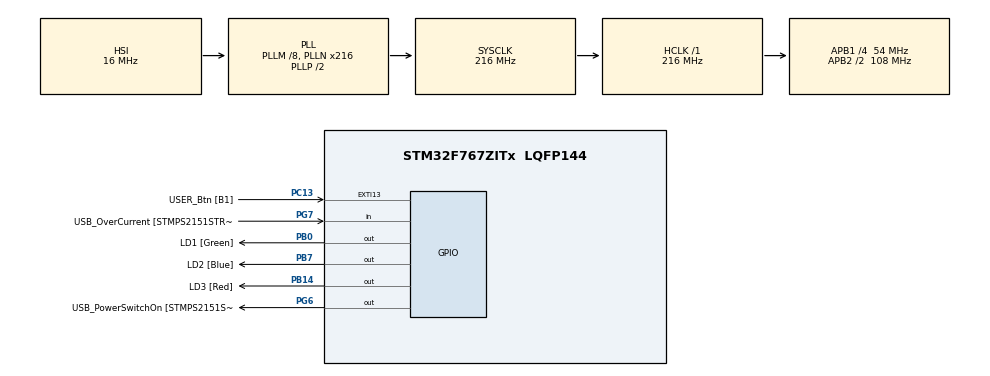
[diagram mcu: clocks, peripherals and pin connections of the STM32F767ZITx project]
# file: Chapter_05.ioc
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Mcu.Family=STM32F7
Mcu.Name=STM32F767ZITx
Mcu.Package=LQFP144
NVIC.PriorityGroup=NVIC_PRIORITYGROUP_4
PA1.GPIO_Label=RMII_REF_CLK [LAN8742A-CZ-TR_REFCLK0]
PA1.Signal=ETH_REF_CLK
PA10.GPIO_Label=USB_ID
PA10.Signal=USB_OTG_FS_ID
PA11.GPIO_Label=USB_DM
PA11.Signal=USB_OTG_FS_DM
PA12.GPIO_Label=USB_DP
PA12.Signal=USB_OTG_FS_DP
PA13.GPIO_Label=TMS
PA13.Signal=SYS_JTMS-SWDIO
PA14.GPIO_Label=TCK
PA14.Signal=SYS_JTCK-SWCLK
PA2.GPIO_Label=RMII_MDIO [LAN8742A-CZ-TR_MDIO]
PA2.Signal=ETH_MDIO
PA7.GPIO_Label=RMII_CRS_DV [LAN8742A-CZ-TR_CRS_DV]
PA7.Signal=ETH_CRS_DV
PA8.GPIO_Label=USB_SOF [TP1]
PA8.Signal=USB_OTG_FS_SOF
PA9.GPIO_Label=USB_VBUS
PA9.Signal=USB_OTG_FS_VBUS
PB0.GPIO_Label=LD1 [Green]
PB0.Signal=GPIO_Output
PB13.GPIO_Label=RMII_TXD1 [LAN8742A-CZ-TR_TXD1]
PB13.Signal=ETH_TXD1
PB14.GPIO_Label=LD3 [Red]
PB14.Signal=GPIO_Output
PB3.GPIO_Label=SW0
PB3.Signal=SYS_JTDO-SWO
PB7.GPIO_Label=LD2 [Blue]
PB7.Signal=GPIO_Output
PC1.GPIO_Label=RMII_MDC [LAN8742A-CZ-TR_MDC]
PC1.Signal=ETH_MDC
PC13.GPIO_Label=USER_Btn [B1]
PC13.Signal=GPXTI13
PC14/OSC32_IN.Signal=RCC_OSC32_IN
PC15/OSC32_OUT.Signal=RCC_OSC32_OUT
PC4.GPIO_Label=RMII_RXD0 [LAN8742A-CZ-TR_RXD0]
PC4.Signal=ETH_RXD0
PC5.GPIO_Label=RMII_RXD1 [LAN8742A-CZ-TR_RXD1]
PC5.Signal=ETH_RXD1
PD8.GPIO_Label=STLK_RX [STM32F103CBT6_PA3]
PD8.Signal=USART3_TX
PD9.GPIO_Label=STLK_TX [STM32F103CBT6_PA2]
PD9.Signal=USART3_RX
PG11.GPIO_Label=RMII_TX_EN [LAN8742A-CZ-TR_TXEN]
PG11.Signal=ETH_TX_EN
PG13.GPIO_Label=RMII_TXD0 [LAN8742A-CZ-TR_TXD0]
PG13.Signal=ETH_TXD0
PG6.GPIO_Label=USB_PowerSwitchOn [STMPS2151STR_EN]
PG6.Signal=GPIO_Output
PG7.GPIO_Label=USB_OverCurrent [STMPS2151STR_FAULT]
PG7.Signal=GPIO_Input
PH0/OSC_IN.GPIO_Label=MCO [STM32F103CBT6_PA8]
PH0/OSC_IN.Signal=RCC_OSC_IN
PH1/OSC_OUT.Signal=RCC_OSC_OUT
ProjectManager.HeapSize=0x200
ProjectManager.StackSize=0x400
ProjectManager.TargetToolchain=STM32CubeIDE
RCC.48MHZClocksFreq_Value=24000000
RCC.AHBFreq_Value=216000000
RCC.APB1CLKDivider=RCC_HCLK_DIV4
RCC.APB1Freq_Value=54000000
RCC.APB1TimFreq_Value=108000000
RCC.APB2CLKDivider=RCC_HCLK_DIV2
RCC.APB2Freq_Value=108000000
RCC.APB2TimFreq_Value=216000000
RCC.CortexFreq_Value=216000000
RCC.HCLKFreq_Value=216000000
RCC.HSE_VALUE=16000000
RCC.HSI_VALUE=16000000
RCC.LSE_VALUE=32768
RCC.PLLM=8
RCC.PLLMUL=RCC_PLL_MUL9
RCC.PLLN=216
RCC.PLLQ=9
RCC.PRESCALERUSB=RCC_USBCLKSOURCE_PLL_DIV1_5
RCC.SYSCLKFreq_VALUE=216000000
RCC.SYSCLKSource=RCC_SYSCLKSOURCE_PLLCLK
RCC.SYSCLKSourceVirtual=RCC_SYSCLKSOURCE_PLLCLK
RCC.USBFreq_Value=48000000
RCC.VCOOutputFreq_Value=432000000
VP_RNG_VS_RNG.Mode=RNG_Activate
board=NUCLEO-F767ZI

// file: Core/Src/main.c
/* USER CODE BEGIN Header */

/**
	TITLE: Chapter-5 timed super-loop program

	DESCRIPTION: This program implements a timed super-loop. It is an example program for
	             the book "Hands On RTOS with Microcontrollers" (2nd edition), for chapter 5.

	USE:
	- This program is for use in a debug build-configuration.
	- It is intended to be used with Segger's Ozone and SystemView

	NOTES:
	- This program contains code generated by STM32CubeIDE and code added for the example program.
	- The code added for the example program is in the "USER CODE" sections

 */

/**
	License:
	- The content generated by STM32CubeIDE is copyrighted 2023 by ST, under the BSD 3-Clause license.
	- Code added for the example-program is copyrighted (c) by PACKT, 2025, under the MIT License.
	- See the code-repository's license-statement for more information:
	  - https://github.com/PacktPublishing/Hands-On-RTOS-with-Microcontrollers-Second-Edition
 */

/* USER CODE END Header */
#include "main.h"

/* USER CODE BEGIN Includes */

// Include for using SEGGER_SYSVIEW_PrintfHost()
#include "../../Middleware/SystemView/SEGGER/SEGGER_SYSVIEW.h"

// Include for using the micro-second delay function
// * It is in the folder ../Inc/
#include "systick_timer_us_delay.h"

/* USER CODE END Includes */

RNG_HandleTypeDef hrng;

void SystemClock_Config(void);
static void MX_GPIO_Init(void);
static void MX_RNG_Init(void);
/* USER CODE BEGIN PFP */

// Function declaration
uint32_t getRandomNumberInRange( uint32_t Min, uint32_t Max );

/* USER CODE END PFP */

/* USER CODE BEGIN 0 */

// Flag, shared by main() and the SysTick ISR
volatile uint8_t timerDone;

/* USER CODE END 0 */

int main(void)
{
  /* USER CODE BEGIN 1 */

    // ###############################################
    // Super-loop initialization
    // ###############################################

    // Indicates whether debug-messages are to be generated
    const uint8_t debug_generateMessages = 1;

    // Local variables
    uint32_t debug_timerDoneBeforeSleepCount = 0;
    uint32_t debug_superLoopIterationCount = 0;
    uint32_t doStuffTime_us;

    // Disable interrupts during initialization, before the super-loop
    __disable_irq();

  /* USER CODE END 1 */

  /* MCU Configuration--------------------------------------------------------*/

  /* Reset of all peripherals, Initializes the Flash interface and the Systick. */
  HAL_Init();

  /* Configure the system clock */
  SystemClock_Config();

  /* Initialize all configured peripherals */
  MX_GPIO_Init();
  MX_RNG_Init();
  /* USER CODE BEGIN 2 */

    // Initialize SEGGER SystemView
    if (debug_generateMessages == 1){
        SEGGER_SYSVIEW_Conf();
    }

    // Keep the debugger active, during and after sleep mode
    HAL_DBGMCU_EnableDBGSleepMode();

    // Initialize counter
    debug_superLoopIterationCount = 0;

    // Synchronize with SystemView Recorder and SysTick timer
    //
    // Enable IRQs, so the SysTick ISR can run, if it's pending
    __enable_irq();
    // __ISB() is a memory-barrier instruction.  It's needed after __enable_irq().
    __ISB(); // Allow pended interrupts to be recognized

    // If debug messages will be generated, wait for the user to start SystemView Recorder
    if (debug_generateMessages == 1){
        while(SEGGER_SYSVIEW_IsStarted()==0);
        SEGGER_SYSVIEW_PrintfHost("Super-loop starting...\n");
    }
    // Synchronize the super-loop's first iteration with the SysTick timer's period
    // Spin until the SysTick ISR runs
    timerDone = 0;
    while(timerDone==0);
    // Disable IRQs again.  IRQs should be disabled when the super-loop is entered.
    __disable_irq();

  /* USER CODE END 2 */

  /* Infinite loop */
  /* USER CODE BEGIN WHILE */

	// #########################
	// The super-loop
	// #########################
  while (1)
  {

      // Enable interrupts
      __enable_irq();
      __ISB();

      // Set iteration variables
      //
      // Increment number of super-loop iterations
      debug_superLoopIterationCount++;
      // Set timer-done flag
      timerDone = 0;

      // ##################
      // Run functions
      // ##################

      // Generate a delay of random length, to simulate functions being run

      // Turn on the green LED.
      // * The pin can be attached to an oscilloscope, to measure the iteration
      //   period and how long the simulated functions take
      HAL_GPIO_WritePin(LD1_GPIO_Port, LD1_Pin, GPIO_PIN_SET);

      // Get a random-number.  It will be the delay length, in micro-seconds.
      doStuffTime_us = getRandomNumberInRange(200,600);
      // Delay (spin)
      delay_us(doStuffTime_us);

      // Turn off the green LED.
      HAL_GPIO_WritePin(LD1_GPIO_Port, LD1_Pin, GPIO_PIN_RESET);

      // If the timer has already expired, then record that
      if ( timerDone == 1 )
      {
          debug_timerDoneBeforeSleepCount++;
          // Turn on blue LED
          HAL_GPIO_WritePin(LD2_GPIO_Port, LD2_Pin, GPIO_PIN_SET);
          if (debug_generateMessages == 1){
              SEGGER_SYSVIEW_PrintfHost("Iteration: %u,  debug_timerDoneBeforeSleepCount: %u\n",
                      debug_superLoopIterationCount, debug_timerDoneBeforeSleepCount);
          }
      }

      // ##################################################
      // Sleep for the remainder of the iteration period
      // ##################################################

      // Disable interrupts
      __disable_irq();

      // Sleep until the timer expires for the super-loop iteration
      //
      // When the timer expires, the timer's ISR will set timerDone to 0
      while (timerDone == 0) {

          // Sleep until there is a pending interrupt
          HAL_PWR_EnterSLEEPMode(0, PWR_SLEEPENTRY_WFI);

          // Enable interrupts, so that pending interrupts' ISRs can run
          __enable_irq();
          __ISB();
          // Disable interrupts
          __disable_irq();

      }  //  END: while (timerDone == 0)

    /* USER CODE END WHILE */

    /* USER CODE BEGIN 3 */

  } // END: while(1)

  /* USER CODE END 3 */
}

void SystemClock_Config(void)
{
  RCC_OscInitTypeDef RCC_OscInitStruct = {0};
  RCC_ClkInitTypeDef RCC_ClkInitStruct = {0};
  RCC_PeriphCLKInitTypeDef PeriphClkInitStruct = {0};

  /** Configure the main internal regulator output voltage
  */
  __HAL_RCC_PWR_CLK_ENABLE();
  __HAL_PWR_VOLTAGESCALING_CONFIG(PWR_REGULATOR_VOLTAGE_SCALE1);
  /** Initializes the RCC Oscillators according to the specified parameters
  * in the RCC_OscInitTypeDef structure.
  */
  RCC_OscInitStruct.OscillatorType = RCC_OSCILLATORTYPE_HSI;
  RCC_OscInitStruct.HSIState = RCC_HSI_ON;
  RCC_OscInitStruct.HSICalibrationValue = RCC_HSICALIBRATION_DEFAULT;
  RCC_OscInitStruct.PLL.PLLState = RCC_PLL_ON;
  RCC_OscInitStruct.PLL.PLLSource = RCC_PLLSOURCE_HSI;
  RCC_OscInitStruct.PLL.PLLM = 8;
  RCC_OscInitStruct.PLL.PLLN = 216;
  RCC_OscInitStruct.PLL.PLLP = RCC_PLLP_DIV2;
  RCC_OscInitStruct.PLL.PLLQ = 9;
  RCC_OscInitStruct.PLL.PLLR = 2;
  if (HAL_RCC_OscConfig(&RCC_OscInitStruct) != HAL_OK)
  {
    Error_Handler();
  }
  /** Activate the Over-Drive mode
  */
  if (HAL_PWREx_EnableOverDrive() != HAL_OK)
  {
    Error_Handler();
  }
  /** Initializes the CPU, AHB and APB buses clocks
  */
  RCC_ClkInitStruct.ClockType = RCC_CLOCKTYPE_HCLK|RCC_CLOCKTYPE_SYSCLK
                              |RCC_CLOCKTYPE_PCLK1|RCC_CLOCKTYPE_PCLK2;
  RCC_ClkInitStruct.SYSCLKSource = RCC_SYSCLKSOURCE_PLLCLK;
  RCC_ClkInitStruct.AHBCLKDivider = RCC_SYSCLK_DIV1;
  RCC_ClkInitStruct.APB1CLKDivider = RCC_HCLK_DIV4;
  RCC_ClkInitStruct.APB2CLKDivider = RCC_HCLK_DIV2;

  if (HAL_RCC_ClockConfig(&RCC_ClkInitStruct, FLASH_LATENCY_7) != HAL_OK)
  {
    Error_Handler();
  }
  PeriphClkInitStruct.PeriphClockSelection = RCC_PERIPHCLK_CLK48;
  PeriphClkInitStruct.Clk48ClockSelection = RCC_CLK48SOURCE_PLL;
  if (HAL_RCCEx_PeriphCLKConfig(&PeriphClkInitStruct) != HAL_OK)
  {
    Error_Handler();
  }
}

static void MX_RNG_Init(void)
{

  hrng.Instance = RNG;
  if (HAL_RNG_Init(&hrng) != HAL_OK)
  {
    Error_Handler();
  }

}

static void MX_GPIO_Init(void)
{
  GPIO_InitTypeDef GPIO_InitStruct = {0};

  /* GPIO Ports Clock Enable */
  __HAL_RCC_GPIOC_CLK_ENABLE();
  __HAL_RCC_GPIOH_CLK_ENABLE();
  __HAL_RCC_GPIOA_CLK_ENABLE();
  __HAL_RCC_GPIOB_CLK_ENABLE();
  __HAL_RCC_GPIOD_CLK_ENABLE();
  __HAL_RCC_GPIOG_CLK_ENABLE();

  /*Configure GPIO pin Output Level */
  HAL_GPIO_WritePin(GPIOB, LD1_Pin|LD3_Pin|LD2_Pin, GPIO_PIN_RESET);

  /*Configure GPIO pin Output Level */
  HAL_GPIO_WritePin(USB_PowerSwitchOn_GPIO_Port, USB_PowerSwitchOn_Pin, GPIO_PIN_RESET);

  /*Configure GPIO pin : USER_Btn_Pin */
  GPIO_InitStruct.Pin = USER_Btn_Pin;
  GPIO_InitStruct.Mode = GPIO_MODE_IT_RISING;
  GPIO_InitStruct.Pull = GPIO_NOPULL;
  HAL_GPIO_Init(USER_Btn_GPIO_Port, &GPIO_InitStruct);

  /*Configure GPIO pins : RMII_MDC_Pin RMII_RXD0_Pin RMII_RXD1_Pin */
  GPIO_InitStruct.Pin = RMII_MDC_Pin|RMII_RXD0_Pin|RMII_RXD1_Pin;
  GPIO_InitStruct.Mode = GPIO_MODE_AF_PP;
  GPIO_InitStruct.Pull = GPIO_NOPULL;
  GPIO_InitStruct.Speed = GPIO_SPEED_FREQ_VERY_HIGH;
  GPIO_InitStruct.Alternate = GPIO_AF11_ETH;
  HAL_GPIO_Init(GPIOC, &GPIO_InitStruct);

  /*Configure GPIO pins : RMII_REF_CLK_Pin RMII_MDIO_Pin RMII_CRS_DV_Pin */
  GPIO_InitStruct.Pin = RMII_REF_CLK_Pin|RMII_MDIO_Pin|RMII_CRS_DV_Pin;
  GPIO_InitStruct.Mode = GPIO_MODE_AF_PP;
  GPIO_InitStruct.Pull = GPIO_NOPULL;
  GPIO_InitStruct.Speed = GPIO_SPEED_FREQ_VERY_HIGH;
  GPIO_InitStruct.Alternate = GPIO_AF11_ETH;
  HAL_GPIO_Init(GPIOA, &GPIO_InitStruct);

  /*Configure GPIO pins : LD1_Pin LD3_Pin LD2_Pin */
  GPIO_InitStruct.Pin = LD1_Pin|LD3_Pin|LD2_Pin;
  GPIO_InitStruct.Mode = GPIO_MODE_OUTPUT_PP;
  GPIO_InitStruct.Pull = GPIO_NOPULL;
  GPIO_InitStruct.Speed = GPIO_SPEED_FREQ_LOW;
  HAL_GPIO_Init(GPIOB, &GPIO_InitStruct);

  /*Configure GPIO pin : RMII_TXD1_Pin */
  GPIO_InitStruct.Pin = RMII_TXD1_Pin;
  GPIO_InitStruct.Mode = GPIO_MODE_AF_PP;
  GPIO_InitStruct.Pull = GPIO_NOPULL;
  GPIO_InitStruct.Speed = GPIO_SPEED_FREQ_VERY_HIGH;
  GPIO_InitStruct.Alternate = GPIO_AF11_ETH;
  HAL_GPIO_Init(RMII_TXD1_GPIO_Port, &GPIO_InitStruct);

  /*Configure GPIO pins : STLK_RX_Pin STLK_TX_Pin */
  GPIO_InitStruct.Pin = STLK_RX_Pin|STLK_TX_Pin;
  GPIO_InitStruct.Mode = GPIO_MODE_AF_PP;
  GPIO_InitStruct.Pull = GPIO_NOPULL;
  GPIO_InitStruct.Speed = GPIO_SPEED_FREQ_VERY_HIGH;
  GPIO_InitStruct.Alternate = GPIO_AF7_USART3;
  HAL_GPIO_Init(GPIOD, &GPIO_InitStruct);

  /*Configure GPIO pin : USB_PowerSwitchOn_Pin */
  GPIO_InitStruct.Pin = USB_PowerSwitchOn_Pin;
  GPIO_InitStruct.Mode = GPIO_MODE_OUTPUT_PP;
  GPIO_InitStruct.Pull = GPIO_NOPULL;
  GPIO_InitStruct.Speed = GPIO_SPEED_FREQ_LOW;
  HAL_GPIO_Init(USB_PowerSwitchOn_GPIO_Port, &GPIO_InitStruct);

  /*Configure GPIO pin : USB_OverCurrent_Pin */
  GPIO_InitStruct.Pin = USB_OverCurrent_Pin;
  GPIO_InitStruct.Mode = GPIO_MODE_INPUT;
  GPIO_InitStruct.Pull = GPIO_NOPULL;
  HAL_GPIO_Init(USB_OverCurrent_GPIO_Port, &GPIO_InitStruct);

  /*Configure GPIO pins : USB_SOF_Pin USB_ID_Pin USB_DM_Pin USB_DP_Pin */
  GPIO_InitStruct.Pin = USB_SOF_Pin|USB_ID_Pin|USB_DM_Pin|USB_DP_Pin;
  GPIO_InitStruct.Mode = GPIO_MODE_AF_PP;
  GPIO_InitStruct.Pull = GPIO_NOPULL;
  GPIO_InitStruct.Speed = GPIO_SPEED_FREQ_VERY_HIGH;
  GPIO_InitStruct.Alternate = GPIO_AF10_OTG_FS;
  HAL_GPIO_Init(GPIOA, &GPIO_InitStruct);

  /*Configure GPIO pin : USB_VBUS_Pin */
  GPIO_InitStruct.Pin = USB_VBUS_Pin;
  GPIO_InitStruct.Mode = GPIO_MODE_INPUT;
  GPIO_InitStruct.Pull = GPIO_NOPULL;
  HAL_GPIO_Init(USB_VBUS_GPIO_Port, &GPIO_InitStruct);

  /*Configure GPIO pins : RMII_TX_EN_Pin RMII_TXD0_Pin */
  GPIO_InitStruct.Pin = RMII_TX_EN_Pin|RMII_TXD0_Pin;
  GPIO_InitStruct.Mode = GPIO_MODE_AF_PP;
  GPIO_InitStruct.Pull = GPIO_NOPULL;
  GPIO_InitStruct.Speed = GPIO_SPEED_FREQ_VERY_HIGH;
  GPIO_InitStruct.Alternate = GPIO_AF11_ETH;
  HAL_GPIO_Init(GPIOG, &GPIO_InitStruct);

}

/* USER CODE BEGIN 4 */

/*
 Function:  getRandomNumberInRange()

 Title: Get a random-number, in a specified range

 Description:
 * Returns a random number, in the specified number-range.
 * The MCU's RNG is used.

 Parameters:
 * Specifies the number-range, for the returned random-number
 * The number-range includes the values in Min and Max
 * Requirements for valid values:
   * Max >= Min
   * Max and Min each must be between 0 and 0XFFFFFFFF, inclusive
   * (Max-Min+1) <= 0XFFFFFFFF

 Return: a random number, in the specified range

 */
uint32_t getRandomNumberInRange( uint32_t Min, uint32_t Max ){
	uint32_t randomNumber;
	if (Min > Max)
  {
    Error_Handler();
  }

	if (HAL_RNG_GenerateRandomNumber(&hrng, &randomNumber) != HAL_OK)
	{
		Error_Handler();
	}

	return ( (randomNumber % ((Max-Min)+1)) + Min );

}

/* USER CODE END 4 */

void Error_Handler(void)
{
  __disable_irq();
  while (1)
  {
  }
}

/************************ (C) COPYRIGHT STMicroelectronics *****END OF FILE****/
